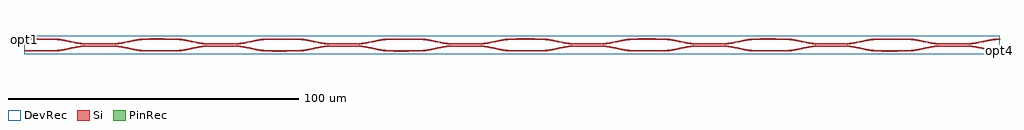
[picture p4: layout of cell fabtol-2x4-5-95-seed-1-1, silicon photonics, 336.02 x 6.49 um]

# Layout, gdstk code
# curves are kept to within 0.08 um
import gdstk
lib = gdstk.Library(unit=1e-6, precision=1e-09)
def R(c, l, rs):  # rectangles x0, y0, x1, y1
    for r in rs: c.add(gdstk.rectangle(r[:2], r[2:], *l))
def P(c, l, *ps):  # polygons
    for p in ps: c.add(gdstk.Polygon(p, *l))
Si = (1, 0)
PinRec = (1, 10)
DevRec = (68, 0)

layer_3_0_phase_sec_2_18 = lib.new_cell('layer-3_0_phase_sec_2$18')
P(layer_3_0_phase_sec_2_18, Si, [(1.364,-0.232),(0,-0.225),(0,0.225),(10,0.225),(10,-0.225)])

layer_3_0_phase_sec_1_18 = lib.new_cell('layer-3_0_phase_sec_1$18')
P(layer_3_0_phase_sec_1_18, Si, [(7.423,-0.232),(0,-0.225),(0,0.225),(10,0.225),(10,-0.225)])

layer_3_0_phase_sec_0_18 = lib.new_cell('layer-3_0_phase_sec_0$18')
P(layer_3_0_phase_sec_0_18, Si, [(2.731,-0.245),(0,-0.225),(0,0.225),(10,0.225),(10,-0.225)])

layer_0_0_phase_sec_0_18 = lib.new_cell('layer-0_0_phase_sec_0$18')
P(layer_0_0_phase_sec_0_18, Si, [(4.744,-0.239),(0,-0.225),(0,0.225),(10,0.225),(10,-0.225)])

layer_3_0_phase_sec_3_18 = lib.new_cell('layer-3_0_phase_sec_3$18')
P(layer_3_0_phase_sec_3_18, Si, [(2.694,-0.247),(0,-0.225),(0,0.225),(10,0.225),(10,-0.225)])

layer_0_0_phase_sec_1_18 = lib.new_cell('layer-0_0_phase_sec_1$18')
P(layer_0_0_phase_sec_1_18, Si, [(3.105,-0.227),(0,-0.225),(0,0.225),(10,0.225),(10,-0.225)])

dc_arm_down_18 = lib.new_cell('dc_arm_down$18')
R(dc_arm_down_18, Si, [(12,-0.55,20,-0.1)])
P(dc_arm_down_18, Si, [(32,-2.225),(30.861,-2.188),(29.344,-2.033),(22.966,-0.793),(21.481,-0.613),(20,-0.55),(20,-0.1),(21.139,-0.137),(22.656,-0.292),(29.034,-1.532),(30.519,-1.712),(32,-1.775)],
  [(0,-2.225),(0,-1.775),(1.481,-1.712),(2.966,-1.532),(9.344,-0.292),(10.861,-0.137),(12,-0.1),(12,-0.55),(10.519,-0.613),(9.034,-0.793),(2.656,-2.033),(1.139,-2.188)])

dc_arm_up_18 = lib.new_cell('dc_arm_up$18')
R(dc_arm_up_18, Si, [(12,0.1,20,0.55)])
P(dc_arm_up_18, Si, [(20,0.1),(20,0.55),(21.481,0.613),(22.966,0.793),(29.344,2.033),(30.861,2.188),(32,2.225),(32,1.775),(30.519,1.712),(29.034,1.532),(22.656,0.292),(21.139,0.137)],
  [(12,0.1),(10.861,0.137),(9.344,0.292),(2.966,1.532),(1.481,1.712),(0,1.775),(0,2.225),(1.139,2.188),(2.656,2.033),(9.034,0.793),(10.519,0.613),(12,0.55)])

dc_18 = lib.new_cell('dc$18')
dc_18.add(gdstk.Reference(dc_arm_down_18, (0,0)))
dc_18.add(gdstk.Reference(dc_arm_up_18, (0,0)))

layer_2_0_phase_sec_0_18 = lib.new_cell('layer-2_0_phase_sec_0$18')
P(layer_2_0_phase_sec_0_18, Si, [(1.573,-0.242),(0,-0.225),(0,0.225),(10,0.225),(10,-0.225)])

layer_0_0_phase_sec_2_18 = lib.new_cell('layer-0_0_phase_sec_2$18')
P(layer_0_0_phase_sec_2_18, Si, [(6.294,-0.244),(0,-0.225),(0,0.225),(10,0.225),(10,-0.225)])

layer_1_0_phase_sec_1_18 = lib.new_cell('layer-1_0_phase_sec_1$18')
P(layer_1_0_phase_sec_1_18, Si, [(1.266,-0.248),(0,-0.225),(0,0.225),(10,0.225),(10,-0.225)])

layer_0_0_phase_sec_3_18 = lib.new_cell('layer-0_0_phase_sec_3$18')
P(layer_0_0_phase_sec_3_18, Si, [(3.604,-0.235),(0,-0.225),(0,0.225),(10,0.225),(10,-0.225)])

layer_1_0_phase_sec_0_18 = lib.new_cell('layer-1_0_phase_sec_0$18')
P(layer_1_0_phase_sec_0_18, Si, [(2.302,-0.231),(0,-0.225),(0,0.225),(10,0.225),(10,-0.225)])

layer_1_0_phase_sec_3_18 = lib.new_cell('layer-1_0_phase_sec_3$18')
P(layer_1_0_phase_sec_3_18, Si, [(6.46,-0.246),(0,-0.225),(0,0.225),(10,0.225),(10,-0.225)])

layer_1_0_phase_sec_2_18 = lib.new_cell('layer-1_0_phase_sec_2$18')
P(layer_1_0_phase_sec_2_18, Si, [(2.225,-0.233),(0,-0.225),(0,0.225),(10,0.225),(10,-0.225)])

layer_2_0_phase_sec_1_18 = lib.new_cell('layer-2_0_phase_sec_1$18')
P(layer_2_0_phase_sec_1_18, Si, [(1.567,-0.236),(0,-0.225),(0,0.225),(10,0.225),(10,-0.225)])

layer_2_0_phase_sec_2_18 = lib.new_cell('layer-2_0_phase_sec_2$18')
P(layer_2_0_phase_sec_2_18, Si, [(1.486,-0.244),(0,-0.225),(0,0.225),(10,0.225),(10,-0.225)])

layer_2_0_phase_sec_3_18 = lib.new_cell('layer-2_0_phase_sec_3$18')
P(layer_2_0_phase_sec_3_18, Si, [(3.461,-0.235),(0,-0.225),(0,0.225),(10,0.225),(10,-0.225)])

fabtol_2x4_5_95_seed_1_1 = lib.new_cell('fabtol-2x4-5-95-seed-1-1')
R(fabtol_2x4_5_95_seed_1_1, DevRec, [(0,-1,336,5.493)])
fabtol_2x4_5_95_seed_1_1.add(gdstk.FlexPath([(335.99,0.248),(336.01,0.248)], 0.45, ends="flush", simple_path=True, layer=1, datatype=10))  # PinRec
fabtol_2x4_5_95_seed_1_1.add(gdstk.FlexPath([(335.99,4.248),(336.01,4.248)], 0.45, ends="flush", simple_path=True, layer=1, datatype=10))  # PinRec
fabtol_2x4_5_95_seed_1_1.add(gdstk.FlexPath([(0.01,4.248),(-0.01,4.248)], 0.45, ends="flush", simple_path=True, layer=1, datatype=10))  # PinRec
fabtol_2x4_5_95_seed_1_1.add(gdstk.Reference(layer_3_0_phase_sec_2_18, (294,4.248)))
fabtol_2x4_5_95_seed_1_1.add(gdstk.Reference(layer_3_0_phase_sec_1_18, (252,0.248)))
fabtol_2x4_5_95_seed_1_1.add(gdstk.Reference(layer_3_0_phase_sec_0_18, (252,4.248)))
fabtol_2x4_5_95_seed_1_1.add(gdstk.Reference(layer_0_0_phase_sec_0_18, (0,4.248)))
fabtol_2x4_5_95_seed_1_1.add(gdstk.Reference(layer_3_0_phase_sec_3_18, (294,0.248)))
fabtol_2x4_5_95_seed_1_1.add(gdstk.Reference(layer_0_0_phase_sec_1_18, (0,0.248)))
fabtol_2x4_5_95_seed_1_1.add(gdstk.Reference(dc_18, (10,2.248)))
fabtol_2x4_5_95_seed_1_1.add(gdstk.Reference(dc_18, (52,2.248)))
fabtol_2x4_5_95_seed_1_1.add(gdstk.Reference(dc_18, (94,2.248)))
fabtol_2x4_5_95_seed_1_1.add(gdstk.Reference(dc_18, (136,2.248)))
fabtol_2x4_5_95_seed_1_1.add(gdstk.Reference(dc_18, (178,2.248)))
fabtol_2x4_5_95_seed_1_1.add(gdstk.Reference(dc_18, (220,2.248)))
fabtol_2x4_5_95_seed_1_1.add(gdstk.Reference(dc_18, (262,2.248)))
fabtol_2x4_5_95_seed_1_1.add(gdstk.Reference(dc_18, (304,2.248)))
fabtol_2x4_5_95_seed_1_1.add(gdstk.Reference(layer_2_0_phase_sec_0_18, (168,4.248)))
fabtol_2x4_5_95_seed_1_1.add(gdstk.Reference(layer_0_0_phase_sec_2_18, (42,4.248)))
fabtol_2x4_5_95_seed_1_1.add(gdstk.Reference(layer_1_0_phase_sec_1_18, (84,0.248)))
fabtol_2x4_5_95_seed_1_1.add(gdstk.Reference(layer_0_0_phase_sec_3_18, (42,0.248)))
fabtol_2x4_5_95_seed_1_1.add(gdstk.Reference(layer_1_0_phase_sec_0_18, (84,4.248)))
fabtol_2x4_5_95_seed_1_1.add(gdstk.Reference(layer_1_0_phase_sec_3_18, (126,0.248)))
fabtol_2x4_5_95_seed_1_1.add(gdstk.Reference(layer_1_0_phase_sec_2_18, (126,4.248)))
fabtol_2x4_5_95_seed_1_1.add(gdstk.Reference(layer_2_0_phase_sec_1_18, (168,0.248)))
fabtol_2x4_5_95_seed_1_1.add(gdstk.Reference(layer_2_0_phase_sec_2_18, (210,4.248)))
fabtol_2x4_5_95_seed_1_1.add(gdstk.Reference(layer_2_0_phase_sec_3_18, (210,0.248)))
fabtol_2x4_5_95_seed_1_1.add(gdstk.Label('opt4', (336,0.248), layer=1, texttype=10))
fabtol_2x4_5_95_seed_1_1.add(gdstk.Label('opt3', (336,4.248), layer=1, texttype=10))
fabtol_2x4_5_95_seed_1_1.add(gdstk.Label('opt1', (0,4.248), layer=1, texttype=10))

lib.write_gds('fabtol-2x4-5-95-seed-1-1.gds')
